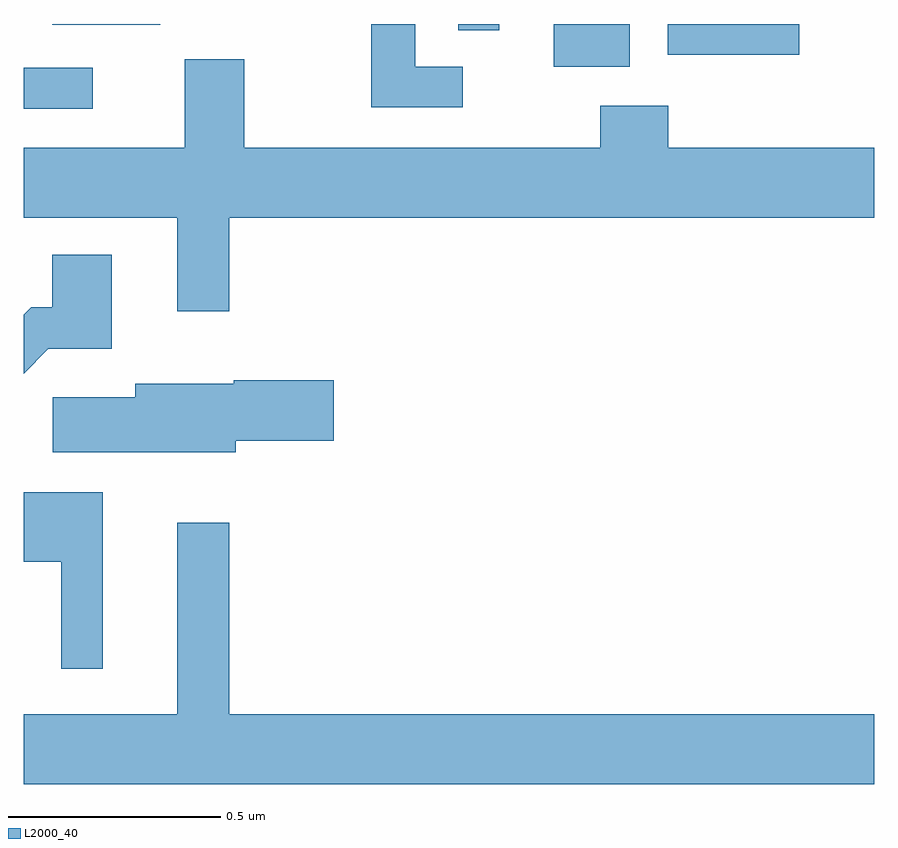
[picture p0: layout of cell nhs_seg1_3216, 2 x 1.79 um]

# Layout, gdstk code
import gdstk
lib = gdstk.Library(unit=1e-6, precision=1e-09)
def R(c, l, rs):  # rectangles x0, y0, x1, y1
    for r in rs: c.add(gdstk.rectangle(r[:2], r[2:], *l))
def P(c, l, *ps):  # polygons
    for p in ps: c.add(gdstk.Polygon(p, *l))
L2000_40 = (2000, 40)

nhs_seg1_3216 = lib.new_cell('nhs_seg1_3216')
R(nhs_seg1_3216, L2000_40, [(151,540,151.162,540.096), (152.246,540.098,152.425,540.199), (152.514,540.127,152.824,540.199), (152.022,540.184,152.118,540.199), (151.067,540.197,151.321,540.199)])
P(nhs_seg1_3216, L2000_40, [(152.032,540.099),(151.921,540.099),(151.921,540.199),(151.817,540.199),(151.817,540.003),(152.032,540.003)],
  [(151.483,539.744),(153,539.744),(153,539.908),(152.516,539.908),(152.516,540.007),(152.356,540.007),(152.356,539.908),(151.519,539.908),(151.519,540.116),(151.379,540.116),(151.379,539.908),(151,539.908),(151,539.744),(151.361,539.744),(151.361,539.523),(151.483,539.523)],
  [(151.058,539.435),(151.207,539.435),(151.207,539.656),(151.067,539.656),(151.067,539.533),(151.018,539.533),(151,539.515),(151,539.377)],
  [(151.498,539.219),(151.729,539.219),(151.729,539.361),(151.494,539.361),(151.494,539.353),(151.262,539.353),(151.262,539.321),(151.068,539.321),(151.068,539.192),(151.498,539.192)],
  [(151.186,539.098),(151,539.098),(151,538.934),(151.088,538.934),(151.088,538.683),(151.186,538.683)],
  [(153,538.576),(151.483,538.576),(151.483,539.026),(151.361,539.026),(151.361,538.576),(151,538.576),(151,538.412),(153,538.412)])

lib.write_gds('nhs_seg1_3216.gds')
